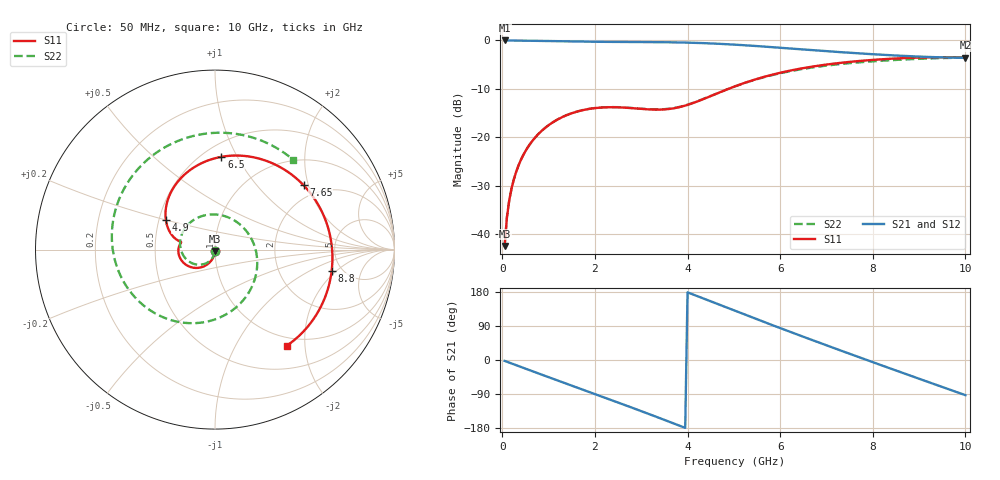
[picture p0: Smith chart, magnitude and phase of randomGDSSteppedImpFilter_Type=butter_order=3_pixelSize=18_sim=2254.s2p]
! freq	dB(S11)	phase(S11)	dB(S12)	phase(S12)
!  dB(S21)	phase(S21)	dB(S22)	phase(S22)
!S-par simulation data
#  GHz  S  DB  R 50
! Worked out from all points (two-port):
!   200 points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, 50 MHz to 10 GHz, reference 50 ohm
!   highest |S21| = 0.00 dB at 50 MHz (marker M1); lowest = -3.6 dB at 10 GHz (marker M2)
!   |S21| within 3 dB of the highest: start of sweep to 8.285 GHz
!   lowest |S11| = -42.5 dB at 50 MHz (marker M3), VSWR 1.02, Z = 50 - j0.752 ohm
!   |S11| at or under -10 dB: start of sweep to 4.882 GHz
!   |S22| runs from -42.5 to -3.6 dB; largest |S21 - S12| = 0
!   S11 on the Smith chart (normalised r, x): 50 MHz: 1.00, -0.02; 4.9 GHz: 0.54, +0.20; 6.5 GHz: 0.61, +0.86; 7.65 GHz: 1.63, +1.86; 8.8 GHz: 4.15, -1.71; 10 GHz: 0.85, -1.65
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0.05  -42.47 -91.5  -0.00 -2.3  -0.00 -2.3  -42.49 -92.1
0.1  -36.51 -93.8  -0.01 -4.6  -0.01 -4.6  -36.51 -94.9
0.2  -30.57 -98.3  -0.02 -9.2  -0.02 -9.2  -30.57 -100.3
0.5  -22.86 -110.9  -0.05 -22.8  -0.05 -22.8  -22.86 -116.0
1  -17.50 -130.8  -0.13 -45.4  -0.13 -45.4  -17.49 -141.7
1.75  -14.37 -158.1  -0.25 -78.8  -0.25 -78.8  -14.35 178.5
2.15  -13.85 -170.7  -0.29 -96.6  -0.29 -96.6  -13.83 155.6
2.55  -13.83 178.8  -0.31 -114.5  -0.31 -114.5  -13.80 130.2
3.4  -14.29 167.7  -0.36 -153.3  -0.36 -153.3  -14.24 63.9
3.8  -13.83 166.8  -0.41 -172.0  -0.41 -172.0  -13.78 27.5
4.15  -12.82 164.7  -0.49 171.4  -0.49 171.4  -12.78 -3.3
4.9  -9.93 149.2  -0.80 135.7  -0.80 135.7  -9.94 -58.7
5.05  -9.39 144.4  -0.89 128.6  -0.89 128.6  -9.40 -68.1
5.75  -7.27 118.2  -1.33 95.8  -1.33 95.8  -7.35 -107.2
6.5  -5.71 86.1  -1.87 61.3  -1.87 61.3  -5.87 -143.8
6.7  -5.40 77.3  -2.01 52.3  -2.01 52.3  -5.58 -153.0
7.2  -4.74 55.4  -2.35 29.8  -2.35 29.8  -4.98 -175.9
7.65  -4.29 36.0  -2.64 9.8  -2.64 9.8  -4.57 163.5
8.35  -3.80 7.3  -3.04 -21.1  -3.04 -21.1  -4.10 130.7
8.8  -3.60 -10.2  -3.26 -40.8  -3.26 -40.8  -3.88 109.0
9.4  -3.47 -32.2  -3.48 -66.8  -3.48 -66.8  -3.67 79.3
10  -3.50 -53.4  -3.59 -92.8  -3.59 -92.8  -3.57 49.2
